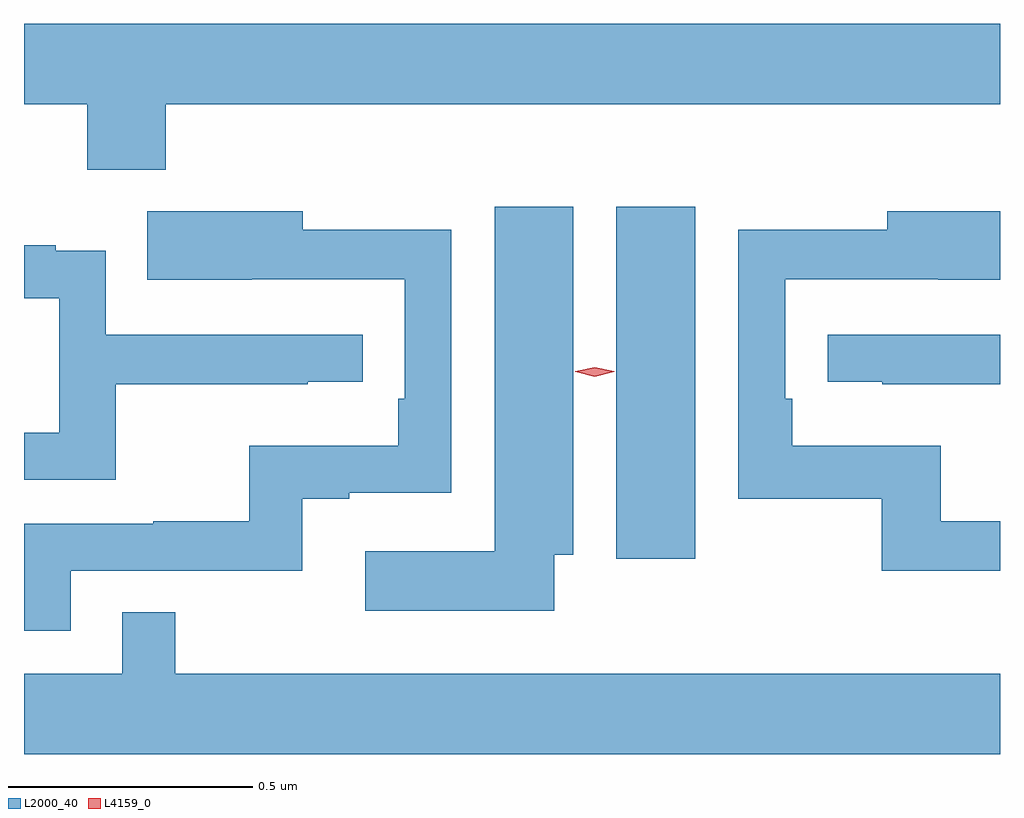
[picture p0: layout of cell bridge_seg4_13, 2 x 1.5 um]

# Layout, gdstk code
import gdstk
lib = gdstk.Library(unit=1e-6, precision=1e-09)
def R(c, l, rs):  # rectangles x0, y0, x1, y1
    for r in rs: c.add(gdstk.rectangle(r[:2], r[2:], *l))
def P(c, l, *ps):  # polygons
    for p in ps: c.add(gdstk.Polygon(p, *l))
L2000_40 = (2000, 40)
L4159_0 = (4159, 0)

bridge_seg4_13 = lib.new_cell('bridge_seg4_13')
R(bridge_seg4_13, L2000_40, [(1108.856,797.22,1109.017,797.941)])
P(bridge_seg4_13, L2000_40, [(1107.932,798.152),(1109.642,798.152),(1109.642,798.316),(1107.642,798.316),(1107.642,798.152),(1107.772,798.152),(1107.772,798.017),(1107.932,798.017)],
  [(1108.729,797.228),(1108.768,797.228),(1108.768,797.941),(1108.607,797.941),(1108.607,797.236),(1108.341,797.236),(1108.341,797.114),(1108.729,797.114)],
  [(1107.738,797.196),(1108.212,797.196),(1108.212,797.343),(1108.309,797.343),(1108.309,797.355),(1108.518,797.355),(1108.518,797.894),(1108.213,797.894),(1108.213,797.932),(1107.895,797.932),(1107.895,797.792),(1108.109,797.792),(1108.109,797.793),(1108.422,797.793),(1108.422,797.548),(1108.409,797.548),(1108.409,797.452),(1108.104,797.452),(1108.104,797.297),(1107.907,797.297),(1107.907,797.292),(1107.642,797.292),(1107.642,797.073),(1107.738,797.073)],
  [(1109.642,797.297),(1109.521,797.297),(1109.521,797.452),(1109.216,797.452),(1109.216,797.548),(1109.202,797.548),(1109.202,797.793),(1109.515,797.793),(1109.515,797.792),(1109.642,797.792),(1109.642,797.932),(1109.411,797.932),(1109.411,797.894),(1109.106,797.894),(1109.106,797.343),(1109.4,797.343),(1109.4,797.196),(1109.642,797.196)],
  [(1107.83,797.578),(1108.223,797.578),(1108.223,797.583),(1108.336,797.583),(1108.336,797.679),(1107.81,797.679),(1107.81,797.851),(1107.707,797.851),(1107.707,797.863),(1107.642,797.863),(1107.642,797.754),(1107.714,797.754),(1107.714,797.478),(1107.642,797.478),(1107.642,797.382),(1107.83,797.382)],
  [(1109.642,797.679),(1109.289,797.679),(1109.289,797.583),(1109.401,797.583),(1109.401,797.578),(1109.642,797.578)],
  [(1109.642,796.984),(1107.952,796.984),(1107.952,797.111),(1107.843,797.111),(1107.843,796.984),(1107.642,796.984),(1107.642,796.82),(1109.642,796.82)])
P(bridge_seg4_13, L4159_0, [(1108.812,797.593),(1108.772,797.603),(1108.772,797.603),(1108.772,797.604),(1108.812,797.613),(1108.852,797.604),(1108.852,797.603),(1108.852,797.603)])

lib.write_gds('bridge_seg4_13.gds')
